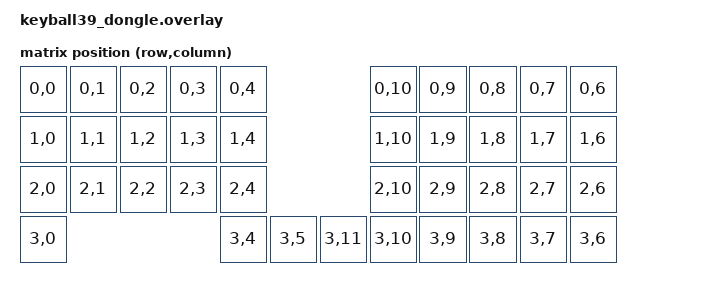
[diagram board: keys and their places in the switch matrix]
#include <dt-bindings/zmk/matrix_transform.h>
#include "keyball39_trackball_split.dtsi"
#include <input/processors.dtsi>

/ {
    chosen {
        zmk,kscan = &kscan0;
        zmk,physical-layout = &physical_layout0;
    };

    kscan0: kscan {
        compatible = "zmk,kscan-mock";
        columns = <0>;
        rows = <0>;
        events = <0>;
    };

    default_transform: keymap_transform_0 {
        compatible = "zmk,matrix-transform";
        columns = <12>;
        rows = <4>;

        map = <
            RC(0,0) RC(0,1) RC(0,2) RC(0,3) RC(0,4)                  RC(0,10) RC(0,9) RC(0,8) RC(0,7) RC(0,6)
            RC(1,0) RC(1,1) RC(1,2) RC(1,3) RC(1,4)                  RC(1,10) RC(1,9) RC(1,8) RC(1,7) RC(1,6)
            RC(2,0) RC(2,1) RC(2,2) RC(2,3) RC(2,4)                  RC(2,10) RC(2,9) RC(2,8) RC(2,7) RC(2,6)
            RC(3,0)                         RC(3,4) RC(3,5) RC(3,11) RC(3,10) RC(3,9) RC(3,8) RC(3,7) RC(3,6)
        >;
    };

    physical_layout0: physical_layout_0 {
        compatible = "zmk,physical-layout";
        display-name = "Default Layout";
        transform = <&default_transform>;
    };

};

/* Enable the trackball listener on the dongle/central */
&trackball_listener {
    status = "okay";

    // Default: Automouse - activate MOUSE layer (4) on movement, timeout after 720ms
    input-processors = <&zip_temp_layer 4 720>;

    // Scroll mode - convert XY movement to scroll wheel on layer 5
    scroller {
        layers = <5>;
        input-processors = <&zip_xy_to_scroll_mapper>;
    };

    // Snipe mode - reduce speed to 1/4 for precision on layer 6
    sniper {
        layers = <6>;
        input-processors = <&zip_xy_scaler 1 4>;
    };
};
